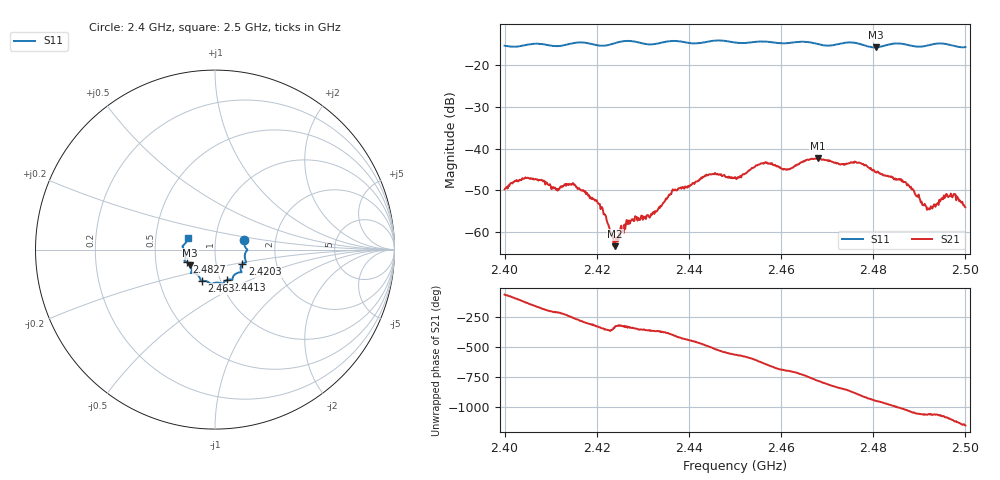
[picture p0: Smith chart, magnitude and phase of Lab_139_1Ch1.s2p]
# Hz S RI R 50
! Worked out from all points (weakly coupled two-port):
!   601 points, 2.4 GHz to 2.5 GHz, reference 50 ohm
!   highest |S21| = -42.37 dB at 2.468 GHz (marker M1); lowest = -63.4 dB at 2.424 GHz (marker M2)
!   lowest |S11| = -15.7 dB at 2.4805 GHz (marker M3), VSWR 1.39, Z = 37.3 - j6.65 ohm
!   |S11| at or under -10 dB: start of sweep to end of sweep
!   S12 and S22 are empty: the file has one direction only
!   S11 on the Smith chart (normalised r, x): 2.4 GHz: 1.38, +0.15; 2.4203 GHz: 1.34, -0.22; 2.4413 GHz: 1.08, -0.38; 2.463 GHz: 0.82, -0.29; 2.4827 GHz: 0.72, -0.11; 2.5 GHz: 0.73, +0.10
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2.4e9  0.1626 0.0524  0.00139 -0.00292  0 0  0 0
2.404833e9  0.1753 0.00466  -0.00309 -0.00317  0 0  0 0
2.416667e9  0.1737 -0.0698  0.000887 0.00301  0 0  0 0
2.420333e9  0.1526 -0.0799  0.00195 0.00102  0 0  0 0
2.424e9  0.1438 -0.1146  0.000585 0.000334  0 0  0 0
2.426833e9  0.1487 -0.1264  0.00112 0.000535  0 0  0 0
2.433333e9  0.1003 -0.1518  0.00185 -0.000349  0 0  0 0
2.4365e9  0.0975 -0.1689  0.00241 -0.00216  0 0  0 0
2.441333e9  0.0675 -0.1693  -0.000685 -0.00387  0 0  0 0
2.445167e9  0.0434 -0.1908  -0.00438 -0.0023  0 0  0 0
2.45e9  0.0244 -0.1852  -0.00404 0.00208  0 0  0 0
2.456167e9  -0.021 -0.1908  0.000885 0.0065  0 0  0 0
2.463e9  -0.0725 -0.1737  0.00612 0.000658  0 0  0 0
2.466667e9  -0.0812 -0.1673  0.00529 -0.00533  0 0  0 0
2.468e9  -0.0843 -0.1576  0.00329 -0.00686  0 0  0 0
2.4805e9  -0.1382 -0.0867  -0.0033 0.00408  0 0  0 0
2.482667e9  -0.1572 -0.0707  -0.00138 0.00455  0 0  0 0
2.483333e9  -0.1624 -0.0683  -0.000589 0.00457  0 0  0 0
2.487333e9  -0.1674 -0.0538  0.00233 0.00276  0 0  0 0
2.491833e9  -0.1723 0.000245  0.00185 0.000474  0 0  0 0
2.497333e9  -0.1681 0.0312  0.00227 -0.00152  0 0  0 0
2.5e9  -0.1516 0.0641  0.000445 -0.00192  0 0  0 0
